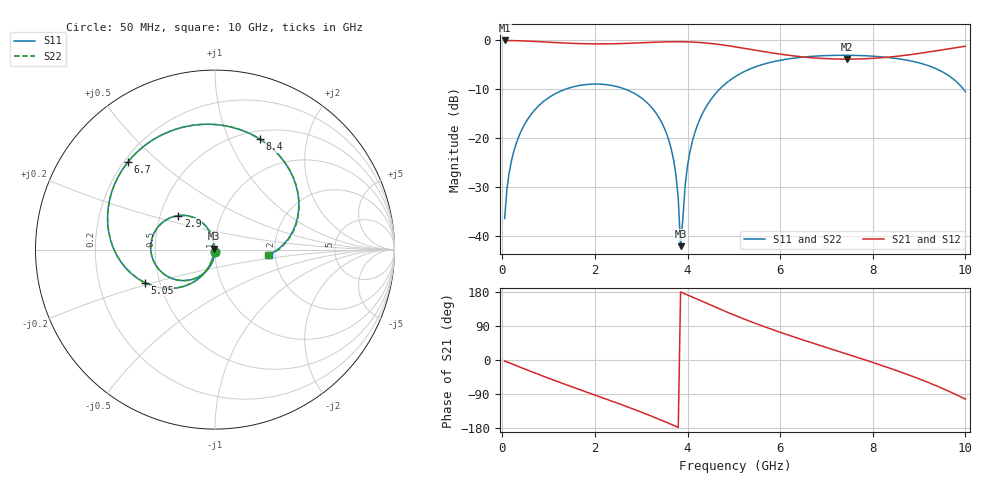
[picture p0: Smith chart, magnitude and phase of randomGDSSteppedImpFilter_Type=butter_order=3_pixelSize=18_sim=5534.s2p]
! freq	dB(S11)	phase(S11)	dB(S12)	phase(S12)
!  dB(S21)	phase(S21)	dB(S22)	phase(S22)
!S-par simulation data
#  GHz  S  DB  R 50
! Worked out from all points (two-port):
!   200 points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, 50 MHz to 10 GHz, reference 50 ohm
!   highest |S21| = -0.01 dB at 50 MHz (marker M1); lowest = -3.8 dB at 7.45 GHz (marker M2)
!   |S21| within 3 dB of the highest: start of sweep to 6.158 GHz; 8.73 GHz to end of sweep
!   lowest |S11| = -42.0 dB at 3.85 GHz (marker M3), VSWR 1.02, Z = 49.4 + j0.466 ohm
!   |S11| at or under -10 dB: start of sweep to 1.354 GHz; 2.665 GHz to 4.689 GHz (2.024 GHz wide, 55.1 % of centre); 9.962952 GHz to end of sweep
!   |S22| runs from -41.2 to -3.0 dB; largest |S21 - S12| = 0
!   S11 on the Smith chart (normalised r, x): 50 MHz: 1.00, -0.03; 2.9 GHz: 0.62, +0.25; 5.05 GHz: 0.41, -0.19; 6.7 GHz: 0.22, +0.40; 8.4 GHz: 0.59, +1.31; 10 GHz: 1.85, -0.11
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0.05  -36.40 -92.3  -0.01 -2.5  -0.01 -2.5  -36.40 -92.3
0.1  -30.42 -95.3  -0.01 -5.0  -0.01 -5.0  -30.42 -95.3
0.2  -24.50 -100.3  -0.03 -9.9  -0.03 -9.9  -24.50 -100.3
0.5  -16.84 -114.9  -0.12 -24.5  -0.12 -24.5  -16.84 -114.9
1.1  -11.12 -143.2  -0.41 -52.7  -0.41 -52.7  -11.12 -143.2
1.75  -9.08 -172.2  -0.67 -81.6  -0.67 -81.6  -9.08 -172.1
2.9  -11.09 137.2  -0.52 -132.7  -0.52 -132.7  -11.09 137.3
3.4  -16.04 113.9  -0.32 -157.0  -0.32 -157.0  -16.04 114.2
3.7  -24.47 102.0  -0.26 -172.5  -0.26 -172.5  -24.45 102.9
3.8  -32.35 105.3  -0.26 -177.8  -0.26 -177.8  -32.25 107.5
3.85  -42.03 143.4  -0.26 179.6  -0.26 179.6  -41.17 146.8
4  -25.56 -105.8  -0.29 171.6  -0.29 171.6  -25.54 -107.0
4.15  -19.07 -110.4  -0.35 163.5  -0.35 163.5  -19.07 -111.0
4.5  -12.14 -127.4  -0.62 144.7  -0.62 144.7  -12.14 -127.7
5.05  -7.27 -154.9  -1.34 116.4  -1.34 116.4  -7.27 -155.0
5.85  -4.35 168.9  -2.59 79.5  -2.59 79.5  -4.35 168.7
6.7  -3.24 134.6  -3.55 44.7  -3.55 44.7  -3.24 134.4
7.45  -3.03 105.7  -3.82 15.4  -3.82 15.4  -3.04 105.5
8.35  -3.50 70.0  -3.41 -20.9  -3.41 -20.9  -3.50 69.8
8.4  -3.55 67.9  -3.36 -23.0  -3.36 -23.0  -3.55 67.7
9.25  -5.33 30.6  -2.29 -61.9  -2.29 -61.9  -5.34 30.2
10  -10.44 -5.3  -1.20 -103.2  -1.20 -103.2  -10.46 -6.2
